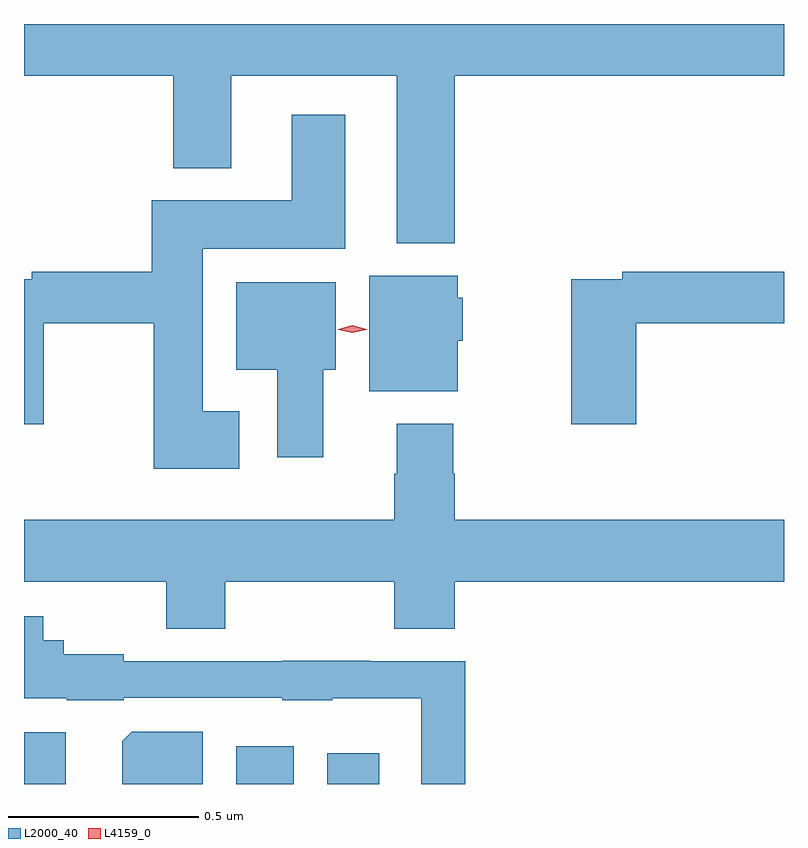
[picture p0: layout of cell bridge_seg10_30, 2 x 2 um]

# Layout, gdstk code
import gdstk
lib = gdstk.Library(unit=1e-6, precision=1e-09)
def R(c, l, rs):  # rectangles x0, y0, x1, y1
    for r in rs: c.add(gdstk.rectangle(r[:2], r[2:], *l))
def P(c, l, *ps):  # polygons
    for p in ps: c.add(gdstk.Polygon(p, *l))
L2000_40 = (2000, 40)
L4159_0 = (4159, 0)

bridge_seg10_30 = lib.new_cell('bridge_seg10_30')
R(bridge_seg10_30, L2000_40, [(948.896,1269.148,949.006,1269.284), (949.454,1269.148,949.606,1269.247), (949.694,1269.148,949.831,1269.229)])
P(bridge_seg10_30, L2000_40, [(950.03,1271.012),(950.896,1271.012),(950.896,1271.148),(948.896,1271.148),(948.896,1271.012),(949.289,1271.012),(949.289,1270.769),(949.441,1270.769),(949.441,1271.012),(949.877,1271.012),(949.877,1270.571),(950.03,1270.571)],
  [(949.462,1270.129),(949.366,1270.129),(949.366,1270.556),(949.741,1270.556),(949.741,1270.909),(949.601,1270.909),(949.601,1270.684),(949.232,1270.684),(949.232,1270.496),(948.916,1270.496),(948.916,1270.476),(948.896,1270.476),(948.896,1270.095),(948.948,1270.095),(948.948,1270.36),(949.237,1270.36),(949.237,1269.977),(949.462,1269.977)],
  [(950.507,1270.36),(950.896,1270.36),(950.896,1270.496),(950.47,1270.496),(950.47,1270.476),(950.336,1270.476),(950.336,1270.095),(950.507,1270.095)],
  [(950.038,1270.314),(950.05,1270.314),(950.05,1270.428),(950.038,1270.428),(950.038,1270.486),(949.805,1270.486),(949.805,1270.181),(950.038,1270.181)],
  [(949.684,1270.238),(949.717,1270.238),(949.717,1270.468),(949.454,1270.468),(949.454,1270.238),(949.562,1270.238),(949.562,1270.008),(949.684,1270.008)],
  [(949.425,1269.68),(949.87,1269.68),(949.87,1269.556),(950.03,1269.556),(950.03,1269.68),(950.896,1269.68),(950.896,1269.844),(950.03,1269.844),(950.03,1269.965),(950.025,1269.965),(950.025,1270.096),(949.877,1270.096),(949.877,1269.965),(949.87,1269.965),(949.87,1269.844),(948.896,1269.844),(948.896,1269.68),(949.27,1269.68),(949.27,1269.556),(949.425,1269.556)],
  [(950.057,1269.471),(949.807,1269.471),(949.807,1269.473),(949.575,1269.473),(949.575,1269.471),(949.158,1269.471),(949.158,1269.49),(949.001,1269.49),(949.001,1269.526),(948.946,1269.526),(948.946,1269.589),(948.896,1269.589),(948.896,1269.374),(949.008,1269.374),(949.008,1269.368),(949.158,1269.368),(949.158,1269.375),(949.575,1269.375),(949.575,1269.368),(949.707,1269.368),(949.707,1269.374),(949.941,1269.374),(949.941,1269.148),(950.057,1269.148)],
  [(949.366,1269.286),(949.18,1269.286),(949.154,1269.26),(949.154,1269.148),(949.366,1269.148)])
P(bridge_seg10_30, L4159_0, [(949.76,1270.335),(949.723,1270.344),(949.722,1270.345),(949.723,1270.345),(949.76,1270.355),(949.798,1270.345),(949.798,1270.345),(949.798,1270.344)])

lib.write_gds('bridge_seg10_30.gds')
